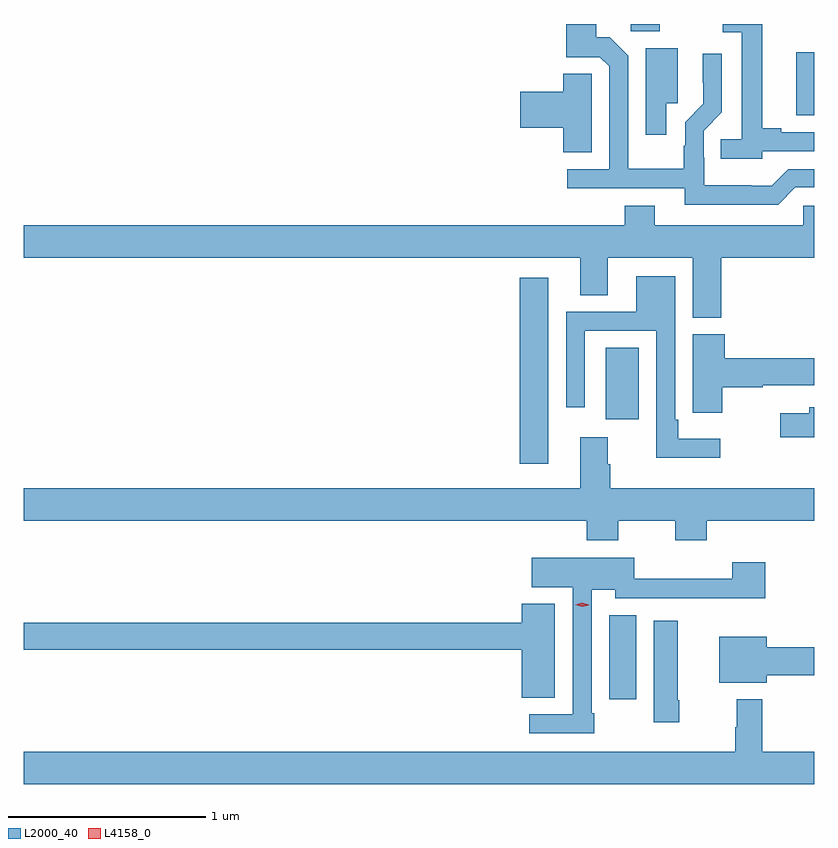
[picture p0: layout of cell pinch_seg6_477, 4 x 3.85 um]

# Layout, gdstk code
import gdstk
lib = gdstk.Library(unit=1e-6, precision=1e-09)
def R(c, l, rs):  # rectangles x0, y0, x1, y1
    for r in rs: c.add(gdstk.rectangle(r[:2], r[2:], *l))
def P(c, l, *ps):  # polygons
    for p in ps: c.add(gdstk.Polygon(p, *l))
L2000_40 = (2000, 40)
L4158_0 = (4158, 0)

pinch_seg6_477 = lib.new_cell('pinch_seg6_477')
R(pinch_seg6_477, L2000_40, [(875.981,946.434,876.118,946.859), (875.528,947.625,875.674,948.565), (875.963,947.85,876.13,948.212), (876.929,949.387,877.019,949.707), (876.09,949.813,876.237,949.85)])
P(pinch_seg6_477, L2000_40, [(876.757,949.206),(877.019,949.206),(877.019,949.302),(876.853,949.302),(876.853,949.322),(876.757,949.322),(876.757,949.85),(876.555,949.85),(876.555,949.809),(876.653,949.809),(876.653,949.266),(876.547,949.266),(876.547,949.169),(876.757,949.169)],
  [(876.924,949.023),(877.019,949.023),(877.019,949.116),(876.888,949.116),(876.803,949.031),(876.701,949.031),(876.701,949.033),(876.462,949.033),(876.462,949.173),(876.459,949.173),(876.459,949.311),(876.552,949.404),(876.552,949.699),(876.456,949.699),(876.456,949.552),(876.458,949.552),(876.458,949.446),(876.366,949.354),(876.366,949.233),(876.359,949.233),(876.359,949.117),(876.078,949.117),(876.078,949.689),(875.985,949.782),(875.917,949.782),(875.917,949.85),(875.765,949.85),(875.765,949.683),(875.934,949.683),(875.982,949.635),(875.982,949.116),(875.769,949.116),(875.769,949.02),(876.365,949.02),(876.365,948.936),(876.837,948.936)],
  [(876.271,949.449),(876.328,949.449),(876.328,949.728),(876.167,949.728),(876.167,949.29),(876.271,949.29)],
  [(875.893,949.49),(875.892,949.49),(875.892,949.598),(875.75,949.598),(875.75,949.508),(875.532,949.508),(875.532,949.325),(875.75,949.325),(875.75,949.201),(875.893,949.201)],
  [(876.548,948.668),(877.019,948.668),(877.019,948.93),(876.963,948.93),(876.963,948.832),(876.211,948.832),(876.211,948.931),(876.059,948.931),(876.059,948.832),(873.019,948.832),(873.019,948.668),(875.834,948.668),(875.834,948.478),(875.974,948.478),(875.974,948.668),(876.404,948.668),(876.404,948.364),(876.548,948.364)],
  [(876.544,947.752),(876.331,947.752),(876.331,947.848),(876.315,947.848),(876.315,948.574),(876.119,948.574),(876.119,948.393),(875.763,948.393),(875.763,947.91),(875.859,947.91),(875.859,948.297),(876.219,948.297),(876.219,947.654),(876.544,947.654)],
  [(876.553,948.011),(876.758,948.011),(876.758,948.023),(877.019,948.023),(877.019,948.158),(876.566,948.158),(876.566,948.279),(876.404,948.279),(876.404,947.995),(876.405,947.995),(876.405,947.883),(876.553,947.883)],
  [(877.019,947.911),(876.995,947.911),(876.995,947.881),(876.846,947.881),(876.846,947.759),(877.019,947.759)],
  [(876.027,947.336),(876.316,947.336),(876.316,947.237),(876.476,947.237),(876.476,947.336),(877.019,947.336),(877.019,947.5),(875.987,947.5),(875.987,947.621),(875.974,947.621),(875.974,947.758),(875.834,947.758),(875.834,947.5),(873.019,947.5),(873.019,947.336),(875.867,947.336),(875.867,947.237),(876.027,947.237)],
  [(875.905,946.363),(875.892,946.363),(875.892,946.988),(876.012,946.988),(876.012,946.944),(876.521,946.944),(876.521,946.943),(876.77,946.943),(876.77,947.125),(876.605,947.125),(876.605,947.042),(876.108,947.042),(876.108,947.149),(875.589,947.149),(875.589,947),(875.796,947),(875.796,946.356),(875.577,946.356),(875.577,946.26),(875.905,946.26)],
  [(875.707,946.915),(875.54,946.915),(875.54,946.82),(873.019,946.82),(873.019,946.684),(875.54,946.684),(875.54,946.441),(875.707,946.441)],
  [(876.336,946.429),(876.328,946.429),(876.328,946.831),(876.206,946.831),(876.206,946.317),(876.336,946.317)],
  [(876.778,946.555),(877.019,946.555),(877.019,946.697),(876.778,946.697),(876.778,946.75),(876.539,946.75),(876.539,946.517),(876.778,946.517)],
  [(877.019,946.168),(876.755,946.168),(876.755,946.432),(876.627,946.432),(876.627,946.292),(876.619,946.292),(876.619,946.168),(873.019,946.168),(873.019,946.004),(877.019,946.004)])
P(pinch_seg6_477, L4158_0, [(875.844,946.9),(875.81,946.91),(875.81,946.91),(875.81,946.91),(875.845,946.92),(875.879,946.91),(875.879,946.909),(875.879,946.909)])

lib.write_gds('pinch_seg6_477.gds')
